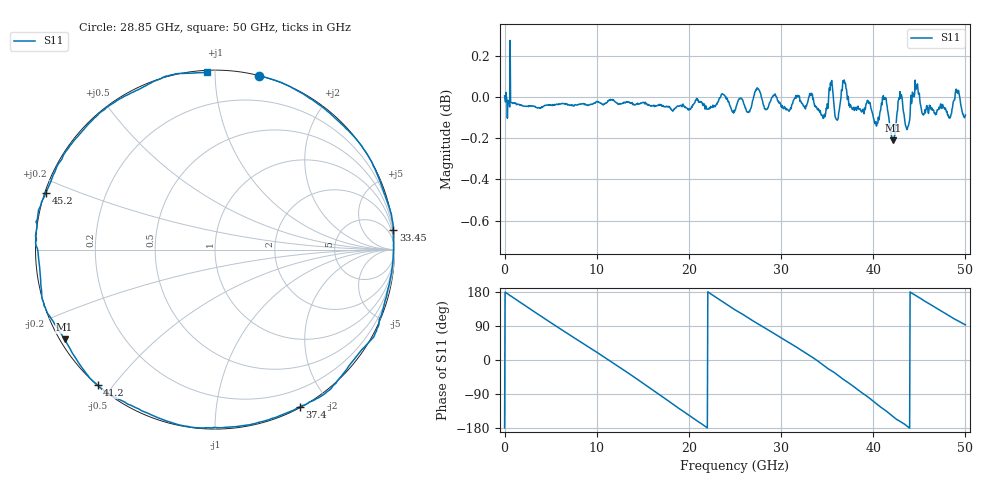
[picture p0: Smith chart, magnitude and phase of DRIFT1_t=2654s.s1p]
!Created with skrf (http://scikit-rf.org).
# Hz S RI R 50.0
!freq ReS11 ImS11
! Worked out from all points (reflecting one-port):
!   1001 points, 300 kHz to 50 GHz, reference 50 ohm
!   lowest |S11| = -0.2 dB at 42.15 GHz (marker M1), VSWR 82.84, Z = 0.649 - j13.8 ohm
!   phase of S11 starts at -179 deg and turns -808 deg over the sweep
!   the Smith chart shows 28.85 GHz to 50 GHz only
!   S11 on the Smith chart (normalised r, x): 28.85 GHz: 0.00, +1.29; 33.45 GHz: 0, +18; 37.4 GHz: 0.01, -1.67; 41.2 GHz: 0.00, -0.46; 45.2 GHz: 0.00, +0.16; 50 GHz: 0.01, +0.96
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300000  -1.001 -0.0113
1.65029e9  -0.8867 0.4526
3.450279e9  -0.5499 0.8284
6.250262e9  0.1912 0.978
9.600242e9  0.8912 0.4452
1.250022e10  0.9385 -0.3347
1.405022e10  0.7042 -0.7039
1.580021e10  0.2676 -0.9586
1.73002e10  -0.174 -0.9795
1.875019e10  -0.5735 -0.8131
2.050018e10  -0.8994 -0.428
2.185017e10  -0.9934 -0.0588
2.345016e10  -0.9234 0.3846
2.500015e10  -0.6698 0.7328
2.715014e10  -0.1841 0.986
2.885013e10  0.2469 0.9666
3.125011e10  0.7582 0.6464
3.34501e10  0.9928 0.1083
3.545009e10  0.8892 -0.4761
3.740008e10  0.4723 -0.877
3.750008e10  0.4434 -0.8918
3.940006e10  -0.1249 -0.9903
4.120005e10  -0.6545 -0.7551
4.215005e10  -0.8384 -0.5
4.375004e10  -0.9813 -0.0667
4.520003e10  -0.9419 0.3173
4.760001e10  -0.5855 0.8043
5e10  -0.0452 0.989
